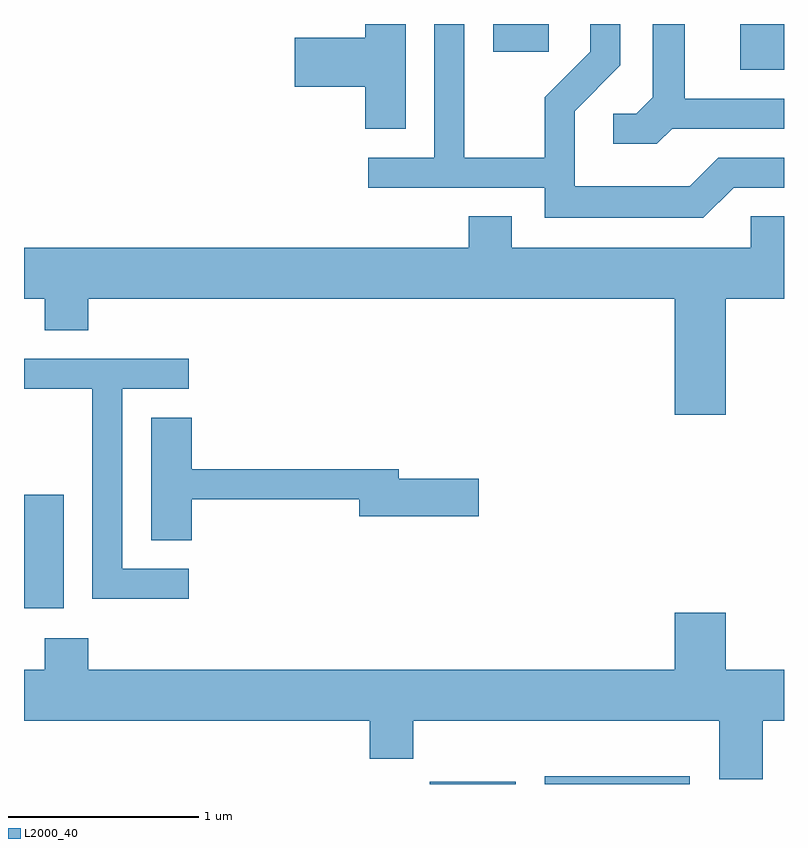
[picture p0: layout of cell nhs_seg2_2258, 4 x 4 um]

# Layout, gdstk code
import gdstk
lib = gdstk.Library(unit=1e-6, precision=1e-09)
def R(c, l, rs):  # rectangles x0, y0, x1, y1
    for r in rs: c.add(gdstk.rectangle(r[:2], r[2:], *l))
def P(c, l, *ps):  # polygons
    for p in ps: c.add(gdstk.Polygon(p, *l))
L2000_40 = (2000, 40)

nhs_seg2_2258 = lib.new_cell('nhs_seg2_2258')
R(nhs_seg2_2258, L2000_40, [(253.746,1005.802,254.199,1005.814), (254.351,1005.802,255.114,1005.844), (251.611,1006.726,251.819,1007.324), (255.381,1009.561,255.611,1009.802), (254.081,1009.656,254.374,1009.802)])
P(nhs_seg2_2258, L2000_40, [(255.347,1008.941),(255.611,1008.941),(255.611,1009.099),(255.264,1009.099),(255.114,1008.949),(254.509,1008.949),(254.509,1009.344),(254.749,1009.584),(254.749,1009.802),(254.591,1009.802),(254.591,1009.657),(254.351,1009.417),(254.351,1009.099),(253.929,1009.099),(253.929,1009.802),(253.771,1009.802),(253.771,1009.099),(253.423,1009.099),(253.423,1008.941),(254.351,1008.941),(254.351,1008.781),(255.187,1008.781)],
  [(253.619,1009.802),(253.406,1009.802),(253.406,1009.729),(253.036,1009.729),(253.036,1009.471),(253.406,1009.471),(253.406,1009.251),(253.619,1009.251)],
  [(255.022,1009.251),(255.611,1009.251),(255.611,1009.409),(255.089,1009.409),(255.089,1009.802),(254.921,1009.802),(254.921,1009.417),(254.834,1009.329),(254.713,1009.329),(254.713,1009.171),(254.942,1009.171)],
  [(255.304,1008.356),(255.611,1008.356),(255.611,1008.789),(255.436,1008.789),(255.436,1008.624),(254.179,1008.624),(254.179,1008.789),(253.951,1008.789),(253.951,1008.624),(251.611,1008.624),(251.611,1008.356),(251.721,1008.356),(251.721,1008.191),(251.949,1008.191),(251.949,1008.356),(255.036,1008.356),(255.036,1007.746),(255.304,1007.746)],
  [(252.478,1006.934),(252.129,1006.934),(252.129,1007.881),(252.478,1007.881),(252.478,1008.039),(251.611,1008.039),(251.611,1007.881),(251.971,1007.881),(251.971,1006.776),(252.478,1006.776)],
  [(252.494,1007.301),(253.376,1007.301),(253.376,1007.211),(254.004,1007.211),(254.004,1007.409),(253.584,1007.409),(253.584,1007.459),(252.494,1007.459),(252.494,1007.729),(252.281,1007.729),(252.281,1007.086),(252.494,1007.086)],
  [(255.499,1006.136),(255.611,1006.136),(255.611,1006.404),(255.304,1006.404),(255.304,1006.704),(255.036,1006.704),(255.036,1006.404),(251.949,1006.404),(251.949,1006.569),(251.721,1006.569),(251.721,1006.404),(251.611,1006.404),(251.611,1006.136),(253.431,1006.136),(253.431,1005.936),(253.659,1005.936),(253.659,1006.136),(255.271,1006.136),(255.271,1005.826),(255.499,1005.826)])

lib.write_gds('nhs_seg2_2258.gds')
